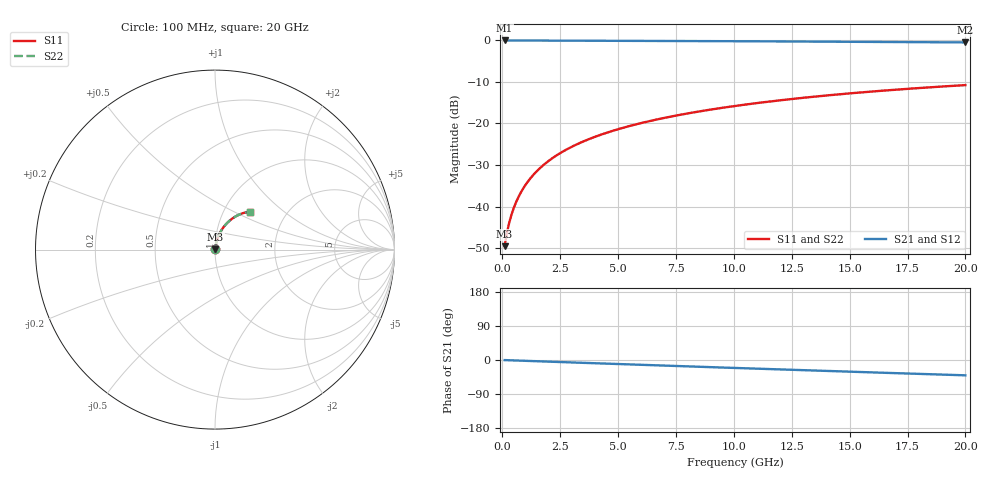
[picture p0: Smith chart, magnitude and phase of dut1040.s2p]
! Touchstone file exported from HFSS 2026.1.0
!  File:  C:/ffzhzh/LocalFiles/Ansys_Project_Files/temp_train_TMRDL_1040_1783160202_51560.aedt
!  Generated:  06:17:59 PM Jul  4, 2026
!  Design:  TMRDL
!  Project:  temp_train_TMRDL_1040_1783160202_51560
! Variables:
!  h_bsmrdl = 2um
!  h_ox = 20um
!  h_rdl = 5um
!  h_sub = 80um
!  h_tmrdl = 4.88um
!  h_tsv = 80um
!  h_via = 3um
!  l_bsmrdl = 300um
!  l_sub = 1050.21um
!  l_tmrdl = 650.21um
!  m_sub = 200um
!  pitch = 35.26um
!  r_tsv = 6um
!  s_tmrdl = 10um
!  w_bsmrdl = 18um
!  w_sub = 500um
!  w_tmrdl = 18.83um
!  x_tsv_center1 = 659.625um
!  x_tsv_center2 = 977.625um
!  x_tsv_center3 = 1646.665um
!  x_tsv_center4 = 1964.665um
!  x_tsv_center5 = 2633.705um
!  x_tsv_center6 = 2951.705um
# GHz S MA R 50.000000
! Terminal data exported
! Port[1] = TM_RDL1_1_T1
! Port[2] = TM_RDL1_1_T2
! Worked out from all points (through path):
!   200 points, 100 MHz to 20 GHz, reference 50 ohm
!   highest |S21| = -0.02 dB at 100 MHz (marker M1); lowest = -0.5 dB at 20 GHz (marker M2)
!   group delay of S21, straight-line fit = 5.61 ps
!   lowest |S11| = -49.5 dB at 100 MHz (marker M3), VSWR 1.01, Z = 50.3 + j0.201 ohm
!   |S11| at or under -10 dB: start of sweep to end of sweep
!   |S22| runs from -49.5 to -10.8 dB; largest |S21 - S12| = 2.7e-15
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0.1  0.003342 36.8  0.9973 -0.2  0.9973 -0.2  0.003342 36.8
! Gamma 0 0 0 0
! Port Impedance 50 0 50 0
0.2  0.004823 53.4  0.9971 -0.5  0.9971 -0.5  0.004823 53.4
0.3  0.00642 61.5  0.997 -0.7  0.997 -0.7  0.00642 61.5
0.4  0.008047 66.4  0.9969 -0.9  0.9969 -0.9  0.008047 66.4
0.5  0.009698 69.7  0.9968 -1.1  0.9968 -1.1  0.009698 69.7
0.6  0.01137 72.1  0.9967 -1.3  0.9967 -1.3  0.01137 72.1
0.8  0.01477 75.1  0.9965 -1.7  0.9965 -1.7  0.01477 75.1
1.1  0.01992 77.4  0.9963 -2.4  0.9963 -2.4  0.01992 77.4
1.3  0.02338 78.3  0.9961 -2.8  0.9961 -2.8  0.02338 78.3
1.6  0.02857 78.9  0.9958 -3.5  0.9958 -3.5  0.02857 78.9
2.1  0.03717 79.0  0.9951 -4.5  0.9951 -4.5  0.03717 79.0
2.7  0.0474 78.6  0.9942 -5.8  0.9942 -5.8  0.0474 78.5
3.5  0.06081 77.5  0.9928 -7.5  0.9928 -7.5  0.06081 77.4
4.2  0.07235 76.3  0.9914 -9.0  0.9914 -9.0  0.07235 76.3
5  0.0853 74.9  0.9897 -10.7  0.9897 -10.7  0.0853 74.9
5.9  0.09962 73.3  0.9877 -12.5  0.9877 -12.5  0.09962 73.3
6.8  0.1137 71.6  0.9855 -14.4  0.9855 -14.4  0.1137 71.6
8.3  0.1365 68.8  0.9817 -17.4  0.9817 -17.4  0.1365 68.8
10.1  0.1631 65.5  0.9768 -21.1  0.9768 -21.1  0.1631 65.5
13.4  0.2092 59.3  0.9667 -27.7  0.9667 -27.7  0.2092 59.3
16.7  0.2514 53.2  0.9558 -34.1  0.9558 -34.1  0.2514 53.1
20  0.2895 47.1  0.9444 -40.4  0.9444 -40.4  0.2895 47.1
